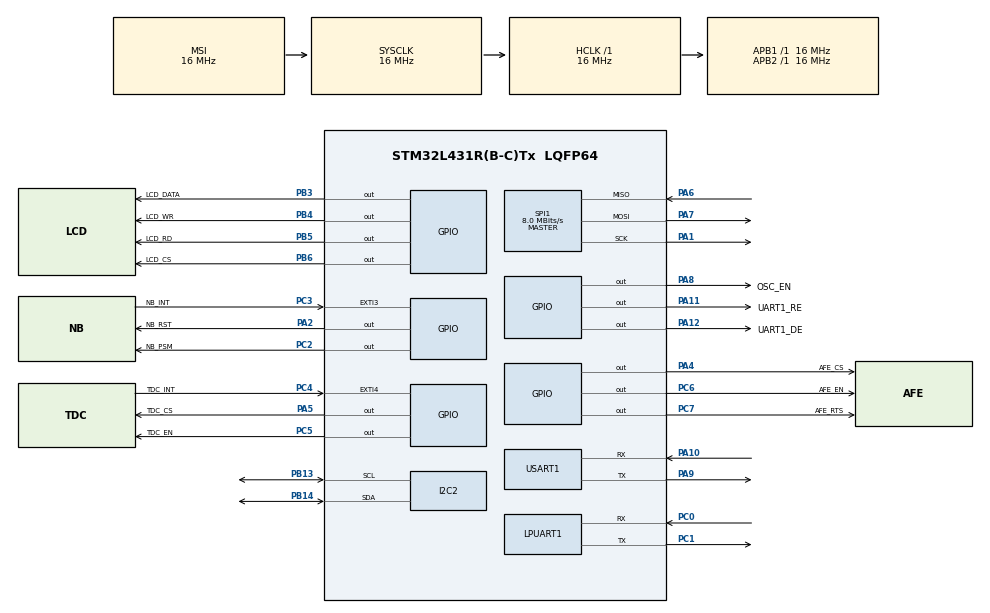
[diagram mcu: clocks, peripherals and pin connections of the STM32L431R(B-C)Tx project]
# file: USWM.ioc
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ADC1.Channel-0\#ChannelRegularConversion=ADC_CHANNEL_VREFINT
ADC1.NbrOfConversion=1
ADC1.NbrOfConversionFlag=1
ADC1.OffsetNumber-0\#ChannelRegularConversion=ADC_OFFSET_NONE
ADC1.Rank-0\#ChannelRegularConversion=1
ADC1.SamplingTime-0\#ChannelRegularConversion=ADC_SAMPLETIME_247CYCLES_5
ADC1.master=1
Dma.Request0=USART1_RX
Dma.USART1_RX.0.Direction=DMA_PERIPH_TO_MEMORY
Dma.USART1_RX.0.Instance=DMA1_Channel5
Dma.USART1_RX.0.MemDataAlignment=DMA_MDATAALIGN_BYTE
Dma.USART1_RX.0.MemInc=DMA_MINC_ENABLE
Dma.USART1_RX.0.Mode=DMA_NORMAL
Dma.USART1_RX.0.PeriphDataAlignment=DMA_PDATAALIGN_BYTE
Dma.USART1_RX.0.PeriphInc=DMA_PINC_DISABLE
Dma.USART1_RX.0.Priority=DMA_PRIORITY_HIGH
I2C2.Timing=0x00503D58
Mcu.Family=STM32L4
Mcu.Name=STM32L431R(B-C)Tx
Mcu.Package=LQFP64
NVIC.DMA1_Channel5_IRQn=true\:0\:0\:false\:false\:true\:false\:true\:true
NVIC.EXTI3_IRQn=true\:0\:0\:false\:false\:true\:true\:true\:true
NVIC.EXTI4_IRQn=true\:0\:0\:false\:false\:true\:true\:true\:true
NVIC.LPUART1_IRQn=true\:0\:0\:false\:false\:true\:true\:true\:true
NVIC.PriorityGroup=NVIC_PRIORITYGROUP_4
NVIC.RTC_WKUP_IRQn=true\:0\:0\:false\:false\:true\:true\:true\:true
NVIC.USART1_IRQn=true\:0\:0\:false\:false\:true\:true\:true\:true
PA1.Mode=Full_Duplex_Master
PA1.Signal=SPI1_SCK
PA10.Mode=Asynchronous
PA10.Signal=USART1_RX
PA11.GPIO_Label=UART1_RE
PA11.PinState=GPIO_PIN_SET
PA11.Signal=GPIO_Output
PA12.GPIO_Label=UART1_DE
PA12.Signal=GPIO_Output
PA13\ (JTMS-SWDIO).Mode=Serial_Wire
PA13\ (JTMS-SWDIO).Signal=SYS_JTMS-SWDIO
PA14\ (JTCK-SWCLK).Mode=Serial_Wire
PA14\ (JTCK-SWCLK).Signal=SYS_JTCK-SWCLK
PA2.GPIO_Label=NB_RST
PA2.Signal=GPIO_Output
PA4.GPIO_Label=AFE_CS
PA4.PinState=GPIO_PIN_SET
PA4.Signal=GPIO_Output
PA5.GPIO_Label=TDC_CS
PA5.PinState=GPIO_PIN_SET
PA5.Signal=GPIO_Output
PA6.Mode=Full_Duplex_Master
PA6.Signal=SPI1_MISO
PA7.Mode=Full_Duplex_Master
PA7.Signal=SPI1_MOSI
PA8.GPIO_Label=OSC_EN
PA8.Signal=GPIO_Output
PA9.Mode=Asynchronous
PA9.Signal=USART1_TX
PB13.Mode=I2C
PB13.Signal=I2C2_SCL
PB14.Mode=I2C
PB14.Signal=I2C2_SDA
PB3\ (JTDO-TRACESWO).GPIO_Label=LCD_DATA
PB3\ (JTDO-TRACESWO).Signal=GPIO_Output
PB4\ (NJTRST).GPIO_Label=LCD_WR
PB4\ (NJTRST).Signal=GPIO_Output
PB5.GPIO_Label=LCD_RD
PB5.Signal=GPIO_Output
PB6.GPIO_FM6=SYSCFG_FASTMODEPLUS_PB6
PB6.GPIO_Label=LCD_CS
PB6.GPIO_Speed=GPIO_SPEED_FREQ_LOW
PB6.PinState=GPIO_PIN_SET
PB6.Signal=GPIO_Output
PC0.Mode=Asynchronous
PC0.Signal=LPUART1_RX
PC1.Mode=Asynchronous
PC1.Signal=LPUART1_TX
PC14-OSC32_IN\ (PC14).Mode=LSE-External-Oscillator
PC14-OSC32_IN\ (PC14).Signal=RCC_OSC32_IN
PC15-OSC32_OUT\ (PC15).Mode=LSE-External-Oscillator
PC15-OSC32_OUT\ (PC15).Signal=RCC_OSC32_OUT
PC2.GPIO_Label=NB_PSM
PC2.Signal=GPIO_Output
PC3.GPIO_Label=NB_INT
PC3.Signal=GPXTI3
PC4.GPIO_Label=TDC_INT
PC4.GPIO_ModeDefaultEXTI=GPIO_MODE_IT_FALLING
PC4.GPIO_PuPd=GPIO_PULLUP
PC4.Signal=GPXTI4
PC5.GPIO_Label=TDC_EN
PC5.Signal=GPIO_Output
PC6.GPIO_Label=AFE_EN
PC6.Signal=GPIO_Output
PC7.GPIO_Label=AFE_RTS
PC7.Signal=GPIO_Output
ProjectManager.HeapSize=0x200
ProjectManager.StackSize=0x400
ProjectManager.TargetToolchain=STM32CubeIDE
RCC.ADCFreq_Value=64000000
RCC.AHBFreq_Value=16000000
RCC.APB1Freq_Value=16000000
RCC.APB1TimFreq_Value=16000000
RCC.APB2Freq_Value=16000000
RCC.APB2TimFreq_Value=16000000
RCC.CortexFreq_Value=16000000
RCC.HCLKFreq_Value=16000000
RCC.HSE_VALUE=8000000
RCC.HSI48_VALUE=48000000
RCC.HSI_VALUE=16000000
RCC.MSIClockRange=RCC_MSIRANGE_8
RCC.MSI_VALUE=16000000
RCC.SYSCLKFreq_VALUE=16000000
RCC.VCOOutputFreq_Value=128000000
SPI1.CalculateBaudRate=8.0 MBits/s
SPI1.DataSize=SPI_DATASIZE_8BIT
SPI1.Direction=SPI_DIRECTION_2LINES
SPI1.Mode=SPI_MODE_MASTER
SPI1.VirtualType=VM_MASTER
USART1.VirtualMode-Asynchronous=VM_ASYNC
VP_ADC1_Vref_Input.Mode=IN-Vrefint
VP_RTC_VS_RTC_Activate.Mode=RTC_Enabled
VP_RTC_VS_RTC_WakeUp_intern.Mode=WakeUp
board=custom

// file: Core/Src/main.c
/* USER CODE BEGIN Header */
/**
  ******************************************************************************
  * @file           : main.c
  * @brief          : Main program body
  ******************************************************************************
  * @attention
  *
  * Copyright (c) 2026 STMicroelectronics.
  * All rights reserved.
  *
  * This software is licensed under terms that can be found in the LICENSE file
  * in the root directory of this software component.
  * If no LICENSE file comes with this software, it is provided AS-IS.
  *
  ******************************************************************************
  */
/* USER CODE END Header */
#include "main.h"

/* USER CODE BEGIN Includes */
#include <math.h>
#include <stdlib.h>
#include <inttypes.h>

#include "BC660K-GL.h"
#include "HT1621B.h"
#include "TDC1000.h"
#include "TDC7200.h"
#include "AT24C64.h"
#include "RS485.h"
/* USER CODE END Includes */

/* USER CODE BEGIN PD */
#define ENABLE_LOG_HAL_STATUS	0

#if ENABLE_LOG_HAL_STATUS

#define print_hal_status(expr) do { \
    HAL_StatusTypeDef __status = (expr); \
    switch(__status){ \
    case HAL_OK: \
        printf("[INFO] %s:%d: HAL OK\r\n", __FILE__, __LINE__); \
        break; \
    case HAL_ERROR: \
        printf("[WARN] %s:%d: HAL ERROR\r\n", __FILE__, __LINE__); \
        break; \
    case HAL_BUSY: \
        printf("[WARN] %s:%d: HAL BUSY\r\n", __FILE__, __LINE__); \
        break; \
    case HAL_TIMEOUT: \
        printf("[WARN] %s:%d: HAL TIMEOUT\r\n", __FILE__, __LINE__); \
        break; \
    default: \
        printf("[WARN] %s:%d: UNKNOWN STATUS\r\n", __FILE__, __LINE__); \
        break; \
    } \
} while(0)

#else

#define print_hal_status(expr) (expr)

#endif

#define K_METER					0.754189f

#define ACK						0x06

#define LIFE_CYCLE				10 //year
#define NUM_RECORD				180
#define MIN_CYCLE_WRITE_EPPROM	((LIFE_CYCLE * 31536) / NUM_RECORD) //LIFE_CYCLE * 365 * 24 * 60 * 60 * 1000 / NUM_RECORD / 1000000 ms -> 1752 ms

#define L_AB					0.060f //m
#define PIPE_DIA				0.012f //m
#define PI						3.1415927f

#define CRYSTAL_CLOCK			8000000 //Hz

#define RX_BUFFER_SIZE			256

/* USER CODE END PD */

ADC_HandleTypeDef hadc1;

I2C_HandleTypeDef hi2c2;

UART_HandleTypeDef hlpuart1;
UART_HandleTypeDef huart1;
DMA_HandleTypeDef hdma_usart1_rx;

RTC_HandleTypeDef hrtc;

SPI_HandleTypeDef hspi1;

void SystemClock_Config(void);
static void MX_GPIO_Init(void);
static void MX_DMA_Init(void);
static void MX_ADC1_Init(void);
static void MX_SPI1_Init(void);
static void MX_USART1_UART_Init(void);
static void MX_RTC_Init(void);
static void MX_I2C2_Init(void);
static void MX_LPUART1_UART_Init(void);

/* USER CODE BEGIN 0 */
uint8_t isWakeUpFromStop = 0;

RTC_TimeTypeDef sTime;
RTC_DateTypeDef sDate;

HT1621B_Name LCD1;
TDC7200_Name TDC1;
TDC1000_Name AFE1;
BC660K_Name NB1;
AT24C64_Name EPPROM1;
RS485_HandleTypeDef RS485;

uint8_t send_data_realtime = 0;

uint16_t meas_cycle = 100;
uint16_t updatedata_counter = 0;
uint8_t writedata_cycle = 4; //h
uint8_t writedata_counter = 0;
uint8_t senddata_cycle = 1; //d

uint8_t write_position = 0;

uint8_t tdc_int_flag = 0;
uint8_t nb_int_flag = 0;

uint8_t rxBuffer[RX_BUFFER_SIZE];
uint16_t rxBufferSize;
uint8_t uart_int_flag = 0;
uint8_t command_receive = 0;
uint8_t data_receive[RX_BUFFER_SIZE];
uint8_t data_receive_lenght = 0;

uint8_t error_reg_value = 0;

float t_ab[6] = {0}; // ns
float t_ba[6] = {0}; // ns
float temperature = 0; // C
float velocity = 0; // m/s
float flow = 0; // l/s

uint16_t water_used_integer = 0; //l
float water_used_reality = 0; //l

uint32_t meter_reading_integer = 0; //l
float meter_reading_decimal = 0; //l

float vdd = 3.6f;

void HAL_GPIO_EXTI_Callback(uint16_t GPIO_Pin)
{
    if (GPIO_Pin == TDC_INT_Pin)
    {
    	tdc_int_flag = 1;
    }
    if (GPIO_Pin == NB_INT_Pin)
    {
    	nb_int_flag = 1;
    }
}

void HAL_UARTEx_RxEventCallback(UART_HandleTypeDef *huart, uint16_t Size)
{
    if (huart->Instance == USART1)
    {
    	if (1)
		{
			uart_int_flag = 1;
			RS485_TakeData(rxBuffer, Size, &command_receive, data_receive, &data_receive_lenght);
			memset(rxBuffer, 0, RX_BUFFER_SIZE);
		}

        HAL_UARTEx_ReceiveToIdle_DMA(huart, rxBuffer, RX_BUFFER_SIZE);
        __HAL_DMA_DISABLE_IT(huart->hdmarx, DMA_IT_HT);
    }
}

void Init()
{
	RS485_Init(&RS485, &huart1, rxBuffer, RX_BUFFER_SIZE,
			UART1_DE_GPIO_Port, UART1_DE_Pin,
			UART1_RE_GPIO_Port, UART1_RE_Pin);
	AT24C64_Init(&EPPROM1, &hi2c2, 0xA0);
	TDC7200_Init(&TDC1, &hspi1,
		  TDC_CS_GPIO_Port, TDC_CS_Pin,
		  TDC_EN_GPIO_Port, TDC_EN_Pin,
		  CRYSTAL_CLOCK);
	TDC1000_Init(&AFE1, &hspi1,
		  AFE_CS_GPIO_Port, AFE_CS_Pin,
		  AFE_EN_GPIO_Port, AFE_EN_Pin,
		  AFE_RTS_GPIO_Port, AFE_RTS_Pin,
		  CRYSTAL_CLOCK);
	HT1621B_Init(&LCD1,
		  LCD_CS_GPIO_Port, LCD_CS_Pin,
		  LCD_RD_GPIO_Port, LCD_RD_Pin,
		  LCD_WR_GPIO_Port, LCD_WR_Pin,
		  LCD_DATA_GPIO_Port, LCD_DATA_Pin);
	BC660K_Init(&NB1, &hlpuart1,
		  NB_PSM_GPIO_Port, NB_PSM_Pin,
		  NB_RST_GPIO_Port, NB_RST_Pin);

	HAL_ADC_Stop(&hadc1);
	if (HAL_ADCEx_Calibration_Start(&hadc1, ADC_SINGLE_ENDED) != HAL_OK)
	{
	    printf("[ERROR] ADC Calibration failed!\r\n");
	}
}

void Active()
{
	RS485_ReceiveMode(&RS485);
	HAL_GPIO_WritePin(OSC_EN_GPIO_Port, OSC_EN_Pin, GPIO_PIN_SET);
	TDC7200_Active(&TDC1);
	TDC1000_Active(&AFE1);
	HT1621B_Active(&LCD1);
	HT1621B_TurnOnDisplay(&LCD1);
}

void Sleep()
{
	RS485_Disable(&RS485);
	TDC7200_Sleep(&TDC1);
	TDC1000_Sleep(&AFE1);
	HAL_GPIO_WritePin(OSC_EN_GPIO_Port, OSC_EN_Pin, GPIO_PIN_RESET);
	//HT1621B_Sleep(&LCD1);
	//HT1621B_TurnOffDisplay(&LCD1);
}

void CheckConfig()
{
	uint8_t cmd_temp[20] = {0};
	for (uint8_t i = 0; i < 10; i++)
	{
		TDC7200_ReadRegister8bit(&TDC1, i, &cmd_temp[i]);
	}
	for (uint8_t i = 0; i < 10; i++)
	{
		TDC1000_ReadRegister(&AFE1, i, &cmd_temp[i]);
	}
	printf("[INFO] TDC7200: %02X %02X %02X %02X %02X %02X %02X %02X %02X %02X\r\n",
			  cmd_temp[0], cmd_temp[1], cmd_temp[2], cmd_temp[3], cmd_temp[4], cmd_temp[5], cmd_temp[6], cmd_temp[7], cmd_temp[8], cmd_temp[9]);
	printf("[INFO] TDC1000: %02X %02X %02X %02X %02X %02X %02X %02X %02X %02X\r\n",
			  cmd_temp[10], cmd_temp[11], cmd_temp[12], cmd_temp[13], cmd_temp[14], cmd_temp[15], cmd_temp[16], cmd_temp[17], cmd_temp[18], cmd_temp[19]);
	printf("[INFO] Measure Cycle: %d ms\r\n", meas_cycle);
	printf("[INFO] Write data Cycle: %d h\r\n", writedata_cycle);
	printf("[INFO] Send data Cycle: %d d\r\n", senddata_cycle);
}

void Config()
{
	TDC1000_Reset(&AFE1);

	if (isWakeUpFromStop == 0)
	{
		/*
		print_hal_status(TDC7200_Config(&TDC1,
				FORECE_CALIBRATION_OFF, PARITY_DIS,
				TRIG_EDGE_RISING, STOP_EDGE_RISING, START_EDGE_RISING,
				MEAS_LONG_ToF,
				CALIBRATION_10_CLOCK_PERIODS, AVERAGING_1_CYCLES, RECEIVE_FIVE_STOPS,
				CLOCK_CNTR_OVF_MASK_EN, COARSE_CNTR_OVF_MASK_EN, NEW_MEAS_MASK_EN,
				0xFFFF, 0x028C, 0x018C));
		print_hal_status(TDC1000_Config(&AFE1,
				TX_FREQ_DIV_BY_8, 32,
				MEASUREMENT_1_CYCLES, RECEIVE_5_PULSE,
				DAMPING_DIS, TOF_MEAS_MODE1,
				TEMP_MODE_2_CHANNEL, TEMP_RTD_SEL_PT1000, TEMP_CLK_DIV_BY_8,
				BLANKING_DIS, ECHO_QUAL_THLD_125mV,
				RECEIVE_MODE_SINGLE_ECHO, TRIG_EDGE_POLARITY_RISING, 31,
				PGA_GAIN_21dB, PGA_CTRL_ACTIVE, LNA_CTRL_ACTIVE, LNA_FEEDBACK_CAP,
				0x003E,
				FORCE_SHORT_TOF_DIS, SHORT_TOF_BLANK_PERIOD_64xT0,
				ECHO_TIMEOUT_EN, TOF_TIMEOUT_CTRL_128xT0,
				CLOCKIN_DIV_BY_1, AUTOZERO_PERIOD_64xT0));

		 */
		print_hal_status(AT24C64_Read(&EPPROM1, 0, TDC1.regs, 10));
		print_hal_status(AT24C64_Read(&EPPROM1, 10, AFE1.regs, 10));

		print_hal_status(TDC7200_ByteConfig(&TDC1, TDC1.regs));
		print_hal_status(TDC1000_ByteConfig(&AFE1, AFE1.regs));

		uint8_t cycle[3];

		print_hal_status(AT24C64_Read(&EPPROM1, 20, cycle, 3));

		meas_cycle = cycle[0] * 100;
		writedata_cycle = cycle[1];
		senddata_cycle = cycle[2];

		HT1621B_Config(&LCD1);
	}
	else
	{
		print_hal_status(TDC7200_ByteConfig(&TDC1, TDC1.regs));
		print_hal_status(TDC1000_ByteConfig(&AFE1, AFE1.regs));
	}
	//CheckConfig();
}

void Meas_TOF()
{
	print_hal_status(TDC1000_ToF_Select(&AFE1, SELECT_CHANNEL2));
	tdc_int_flag = 0;
	print_hal_status(TDC7200_Startmeasing(&TDC1));
	uint32_t start1 = HAL_GetTick();
	while (tdc_int_flag == 0)
	{
		if (HAL_GetTick() - start1 >= 100)
		{
			printf("[WARN] Measuring time up timeout\r\n");
			return;
		}
	}
	if (tdc_int_flag == 1)
	{
		print_hal_status(TDC1000_Get_Error(&AFE1, &error_reg_value));
		if (error_reg_value != 0)
		{
			printf("[WARN] Measuring time up fail. \r\n");
			return;
		}
		print_hal_status(TDC7200_GetStatus(&TDC1));
		print_hal_status(TDC7200_GetTOF(&TDC1));
		t_ab[0] = TDC1.ToF[0];
		tdc_int_flag = 0;
		printf("[INFO] Measuring time up success. Time up: %f ns\r\n", t_ab[0]);
	}

	TDC1000_Sleep(&AFE1);
	HAL_Delay(1);
	TDC1000_Active(&AFE1);
	HAL_Delay(1);

	print_hal_status(TDC1000_ToF_Select(&AFE1, SELECT_CHANNEL1));
	tdc_int_flag = 0;
	print_hal_status(TDC7200_Startmeasing(&TDC1));
	uint32_t start2 = HAL_GetTick();
	while (tdc_int_flag == 0)
	{
		if (HAL_GetTick() - start2 >= 100)
		{
			printf("[WARN] Measuring time down timeout. \r\n");
			return;
		}
	}
	if (tdc_int_flag == 1)
	{
		print_hal_status(TDC1000_Get_Error(&AFE1, &error_reg_value));
		if (error_reg_value != 0)
		{
			printf("[WARN] Measuring time down fail. \r\n");
			return;
		}
		print_hal_status(TDC7200_GetStatus(&TDC1));
		print_hal_status(TDC7200_GetTOF(&TDC1));
		t_ba[0] = TDC1.ToF[0];
		tdc_int_flag = 0;
		printf("[INFO] Measuring time down success. Time down: %f ns\r\n", t_ba[0]);
	}
}

void Meas_Temp()
{
	TDC1000_Sleep(&AFE1);
	HAL_Delay(1);
	TDC1000_Active(&AFE1);
	HAL_Delay(1);
	TDC7200_Config_CounterOverflow(&TDC1, 0xFFFF, 0x1CD0, 0x04B0);
	//CheckConfig();

	print_hal_status(TDC1000_Temp_Select(&AFE1));
	tdc_int_flag = 0;
	print_hal_status(TDC7200_Startmeasing(&TDC1));
	uint32_t start = HAL_GetTick();
	while (tdc_int_flag == 0)
	{
		if (HAL_GetTick() - start >= 100)
		{
			printf("[WARN] Measuring temperature timeout\r\n");
			break;
		}
	}
	if (tdc_int_flag == 1)
	{
		print_hal_status(TDC7200_GetStatus(&TDC1));
		print_hal_status(TDC7200_GetTOF(&TDC1));
		float t_REF = TDC1.ToF[0];
		float t_RTD1 = (TDC1.ToF[1] - TDC1.ToF[0] - 51000) / 0.55f;
		tdc_int_flag = 0;
		float RTD1 = 1000.0f * t_REF / t_RTD1;
		temperature = (RTD1/1000 - 1) / 0.00385f;
		printf("[INFO] Measuring temperature success. Temperature: %.3f\r\n", temperature);
	}
}

void MeasBattery()
{
	uint16_t adc_vref = 0;
	uint16_t vref_cal;

	ADC_ChannelConfTypeDef sConfig = {0};
	sConfig.Channel      = ADC_CHANNEL_VREFINT;
	sConfig.Rank         = ADC_REGULAR_RANK_1;
	sConfig.SamplingTime = ADC_SAMPLETIME_247CYCLES_5;
	sConfig.SingleDiff   = ADC_SINGLE_ENDED;
	sConfig.OffsetNumber = ADC_OFFSET_NONE;
	sConfig.Offset       = 0;
	HAL_ADC_ConfigChannel(&hadc1, &sConfig);

	HAL_ADC_Start(&hadc1);
	if (HAL_ADC_PollForConversion(&hadc1, 500) == HAL_OK)
	{
	    adc_vref = HAL_ADC_GetValue(&hadc1);
	}
	else
	{
	    printf("[ERROR] ADC VREF timeout\r\n");
	}
	HAL_ADC_Stop(&hadc1);

	#if defined(VREFINT_CAL_ADDR)
	  vref_cal = *VREFINT_CAL_ADDR;
	#else
	  printf("[WARN] VREFINT_CAL_ADDR not defined!\r\n");
	#endif

	vdd = 3.0f * ((float)vref_cal / (float)adc_vref);

	printf("[INFO] VDD = %.3f V\r\n", vdd);
}

void Calculator_WaterUsed()
{
	if (error_reg_value != 0) return;
	float c = 1402.388f + 5.03830f * temperature; //m/s
	float delta_tof =t_ba[0] - t_ab[0]; //ns
	velocity = delta_tof * c * c / (2 * L_AB) / TIMESCALE; //m/s
	flow = K_METER * 10 * velocity * PI * (10*PIPE_DIA) * (10*PIPE_DIA) / 4; //l/s
	meter_reading_decimal += flow * (meas_cycle / 1000.0f);
	meter_reading_integer += (uint32_t)meter_reading_decimal;
	meter_reading_decimal -= (uint32_t)meter_reading_decimal;

	water_used_integer = meter_reading_integer;
	water_used_reality = meter_reading_integer;

	printf("[INFO] Difference time = %f ns, Ultrasonic velocity = %f m/s, Velocity = %f m/s, Flow %f l/s, Water used = %f l\r\n",
			delta_tof, c, velocity, flow, (float)meter_reading_integer + meter_reading_decimal);
}

void Update_LCD()
{
	if (vdd > 3.3f)
		HT1621B_BDTM1174_LowBattery(&LCD1, STATUS_DIS);
	else
		HT1621B_BDTM1174_LowBattery(&LCD1, STATUS_EN);

	if(ENABLE_LOG)
		HT1621B_BDTM1174_Test(&LCD1, STATUS_EN);
	else
		HT1621B_BDTM1174_Test(&LCD1, STATUS_DIS);

	if (error_reg_value == 0)
	{
		HT1621B_BDTM1174_WirteData(&LCD1, (float)meter_reading_integer + meter_reading_decimal, UNIT_l);
		//HT1621B_BDTM1174_WirteData(&LCD1, flow * 3.6f, UNIT_m3ph);
	}
	else
	{
		HT1621B_BDTM1174_WirteError(&LCD1, error_reg_value);
	}
}

void Save_Data()
{
	HAL_RTC_GetTime(&hrtc, &sTime, RTC_FORMAT_BIN);
	HAL_RTC_GetDate(&hrtc, &sDate, RTC_FORMAT_BIN);

	if (updatedata_counter > MIN_CYCLE_WRITE_EPPROM)
	{
		updatedata_counter = 0;
		write_position = AT24C64_Read(&EPPROM1, 23, &write_position, 1);
		write_position %= 180;
		uint8_t data_write[13];
		data_write[0] = sTime.Hours;		//hour
		data_write[1] = sTime.Minutes;		//min
		data_write[2] = sDate.Date;			//date
		data_write[3] = sDate.Month;		//mon
		data_write[4] = sDate.Year;			//year
		memcpy(&data_write[5], &water_used_integer, 2);
		memcpy(&data_write[7], &meter_reading_integer, 4);
		uint16_t crc = CRC16((uint8_t*)data_write, 11);
		memcpy(&data_write[11], &crc, 2);

		AT24C64_Write(&EPPROM1, 13 * write_position + 25, data_write, 13);
		write_position++;
	}
	else
		updatedata_counter += meas_cycle;

	static uint8_t prev_hour = 255;

	if (sTime.Hours != prev_hour)
	{
	    prev_hour = sTime.Hours;

	    if (sTime.Hours % 4 == 0)
	    {
	        write_position++;
	        water_used_integer = 0;
	    }
	}
}

void Send_DataEpprom()
{
	uint8_t temp[13] = {0};
	for (uint16_t i = 0; i < 2340; i += 13)
	{
		AT24C64_Read(&EPPROM1, 24 + i, temp, 13);
		RS485_Transmit(temp, 13);
		HAL_Delay(10);
	}
}

void Send_DataToF()
{
	uint8_t data_temp[sizeof(t_ab) + sizeof(t_ba)];
	memcpy(data_temp, t_ab, sizeof(t_ab));
	memcpy(data_temp + sizeof(t_ab), t_ba, sizeof(t_ba));
	RS485_Transmit(data_temp, sizeof(t_ab) + sizeof(t_ba));
}

void Use_Config()
{
	meas_cycle = data_receive[20];
	writedata_cycle = data_receive[21];
	senddata_cycle = data_receive[22];

	sDate.Date = data_receive[23];
	sDate.Month = data_receive[24];
	sDate.Year = data_receive[25];
	sTime.Hours = data_receive[26];
	sTime.Minutes = data_receive[27];
	sTime.Seconds = data_receive[28];
	HAL_RTC_SetDate(&hrtc, &sDate, RTC_FORMAT_BIN);
	HAL_RTC_SetTime(&hrtc, &sTime, RTC_FORMAT_BIN);

	print_hal_status(TDC7200_ByteConfig(&TDC1, &data_receive[0])); //10yte
	print_hal_status(TDC1000_ByteConfig(&AFE1, &data_receive[10])); //10byte
	CheckConfig();
}

void Save_Config()
{
	sDate.Date = data_receive[23];
	sDate.Month = data_receive[24];
	sDate.Year = data_receive[25];
	sTime.Hours = data_receive[26];
	sTime.Minutes = data_receive[27];
	sTime.Seconds = data_receive[28];
	HAL_RTC_SetDate(&hrtc, &sDate, RTC_FORMAT_BIN);
	HAL_RTC_SetTime(&hrtc, &sTime, RTC_FORMAT_BIN);

	AT24C64_Write(&EPPROM1, 0, data_receive, 23);
	uint8_t cmd_temp[23];
	AT24C64_Read(&EPPROM1, 0, cmd_temp, 23);
	RS485_Transmit((uint8_t*)cmd_temp, 23);
}

void Read_saved_value()
{
	uint8_t write_position_epprom = 0;
	AT24C64_Read(&EPPROM1, 24, &write_position_epprom, 1);
	uint8_t packet_temp[13] = {0};
	AT24C64_Read(&EPPROM1, 13 * write_position_epprom + 25, packet_temp, 13);

	HAL_RTC_GetTime(&hrtc, &sTime, RTC_FORMAT_BIN);
	HAL_RTC_GetDate(&hrtc, &sDate, RTC_FORMAT_BIN);

	if (sDate.Date == packet_temp[2] && sDate.Month == packet_temp[3] && sDate.Year == packet_temp[4] && sTime.Hours / 4 == packet_temp[0] / 4 )
	{
		write_position = write_position_epprom;
		memcpy(&packet_temp[5], &water_used_integer, 2);
		memcpy(&packet_temp[7], &meter_reading_integer, 4);
	}
	else
	{
		write_position = write_position_epprom++;
		memcpy(&packet_temp[7], &meter_reading_integer, 4);
		Save_Data();
	}
}

/* USER CODE END 0 */

int main(void)
{

  /* MCU Configuration--------------------------------------------------------*/

  /* Reset of all peripherals, Initializes the Flash interface and the Systick. */
  HAL_Init();

  /* Configure the system clock */
  SystemClock_Config();

  /* Initialize all configured peripherals */
  MX_GPIO_Init();
  MX_DMA_Init();
  MX_ADC1_Init();
  MX_SPI1_Init();
  MX_USART1_UART_Init();
  MX_RTC_Init();
  MX_I2C2_Init();
  MX_LPUART1_UART_Init();
  /* USER CODE BEGIN 2 */
  Init();
  /* USER CODE END 2 */

  /* Infinite loop */
  /* USER CODE BEGIN WHILE */
  HAL_UARTEx_ReceiveToIdle_DMA(&huart1, rxBuffer, RX_BUFFER_SIZE);
  __HAL_DMA_DISABLE_IT(huart1.hdmarx, DMA_IT_HT);

  HAL_GPIO_WritePin(NB_RST_GPIO_Port, NB_RST_Pin, GPIO_PIN_SET);
  char cmd1[] = "AT+QSCLK=1\r\n";
  HAL_UART_Transmit(&hlpuart1, (uint8_t*)cmd1, strlen(cmd1), 100);
  char cmd2[] = "AT+CFUN=0\r\n";
  HAL_UART_Transmit(&hlpuart1, (uint8_t*)cmd2, strlen(cmd2), 100);

  isWakeUpFromStop = 0;
  Read_saved_value();
  uint32_t start = 0, end = 0, stop = 0, timeMeasure = 0, timeUse = 0, timeSleep = 0;
  while (1)
  {
	  HAL_RTC_GetTime(&hrtc, &sTime, RTC_FORMAT_BIN);
	  HAL_RTC_GetDate(&hrtc, &sDate, RTC_FORMAT_BIN);
	  printf("\r\n[INFO] [%02d:%02d:%02d %02d/%02d/20%02d]\r\n", sTime.Hours, sTime.Minutes, sTime.Seconds, sDate.Date, sDate.Month, sDate.Year);
	  Active();
	  Config();
	  Meas_TOF();
	  Meas_Temp();
	  Calculator_WaterUsed();
	  MeasBattery();
	  Update_LCD();
	  Save_Data();
	  end = HAL_GetTick();
	  timeMeasure = end - start;
	  if (uart_int_flag)
	  {
		  uart_int_flag = 0;
		  switch (command_receive)
		  {
			  case READ_DATA_EPPROM:
				  RS485_Transmit((uint8_t[]){ACK}, 1);
				  Send_DataEpprom();
				  break;
			  case ENABLE_DATA_REALTIME:
				  RS485_Transmit((uint8_t[]){ACK}, 1);
				  send_data_realtime = 1;
				  break;
			  case DISABLE_DATA_REALTIME:
				  RS485_Transmit((uint8_t[]){ACK}, 1);
				  send_data_realtime = 0;
				  break;
			  case USE_CONFIG:
				  Use_Config();
				  RS485_Transmit((uint8_t[]){ACK}, 1);
				  break;
			  case SAVE_CONFIG:
				  Save_Config();
				  RS485_Transmit((uint8_t[]){ACK}, 1);
				  break;
			  default:
				  HAL_Delay(10);
				  char str[50];
				  sprintf(str, "Command: %02x", command_receive);
				  RS485_Transmit((uint8_t*)str, 11);
		  }

	  }
	  if (send_data_realtime)
	  {
			uint8_t temp[20] = {0};
			memcpy(temp, &flow, 4);

			memcpy(&temp[4], &temperature, 4);
			memcpy(&temp[8], &t_ab[0], 4);
			memcpy(&temp[12], &t_ba[0], 4);
			memcpy(&temp[16], &timeMeasure, 4);

			RS485_Transmit(temp, 20);
	  }
	  Sleep();
	  stop = HAL_GetTick();
	  timeUse = stop - start;
	  printf("[INFO] Time used: %lu\r\n", timeUse);
	  printf("[INFO] Measure cycle: %d ms\r\n", meas_cycle);
    /* USER CODE END WHILE */

    /* USER CODE BEGIN 3 */
	  if (meas_cycle > timeUse)
	  {
		  HAL_RTCEx_DeactivateWakeUpTimer(&hrtc);

		  __HAL_PWR_CLEAR_FLAG(PWR_FLAG_WU);
		  __HAL_RTC_WAKEUPTIMER_CLEAR_FLAG(&hrtc, RTC_FLAG_WUTF);
		  timeUse = HAL_GetTick() - start;
		  timeSleep = (uint32_t)((meas_cycle - timeUse) / 0.488f);
		  HAL_RTCEx_SetWakeUpTimer_IT(&hrtc, timeSleep, RTC_WAKEUPCLOCK_RTCCLK_DIV16);

		  __HAL_PWR_CLEAR_FLAG(PWR_FLAG_WU);

		  HAL_SuspendTick();
		  HAL_PWR_EnterSTOPMode(PWR_LOWPOWERREGULATOR_ON, PWR_STOPENTRY_WFI);

		  SystemClock_Config();
		  HAL_ResumeTick();

		  HAL_ADC_DeInit(&hadc1);
		  HAL_ADC_Init(&hadc1);
		  HAL_ADCEx_Calibration_Start(&hadc1, ADC_SINGLE_ENDED);

		  HAL_UART_DeInit(&huart1);
		  HAL_UART_Init(&huart1);
		  HAL_UARTEx_ReceiveToIdle_DMA(&huart1, rxBuffer, RX_BUFFER_SIZE);
		  __HAL_DMA_DISABLE_IT(huart1.hdmarx, DMA_IT_HT);

		  __HAL_PWR_CLEAR_FLAG(PWR_FLAG_WU);
		  __HAL_RTC_WAKEUPTIMER_CLEAR_FLAG(&hrtc, RTC_FLAG_WUTF);
	  }
	  start = HAL_GetTick();
	  isWakeUpFromStop = 1;

  }
  /* USER CODE END 3 */
}

void SystemClock_Config(void)
{
  RCC_OscInitTypeDef RCC_OscInitStruct = {0};
  RCC_ClkInitTypeDef RCC_ClkInitStruct = {0};

  /** Configure the main internal regulator output voltage
  */
  if (HAL_PWREx_ControlVoltageScaling(PWR_REGULATOR_VOLTAGE_SCALE1) != HAL_OK)
  {
    Error_Handler();
  }

  /** Configure LSE Drive Capability
  */
  HAL_PWR_EnableBkUpAccess();
  __HAL_RCC_LSEDRIVE_CONFIG(RCC_LSEDRIVE_LOW);

  /** Initializes the RCC Oscillators according to the specified parameters
  * in the RCC_OscInitTypeDef structure.
  */
  RCC_OscInitStruct.OscillatorType = RCC_OSCILLATORTYPE_LSI|RCC_OSCILLATORTYPE_LSE
                              |RCC_OSCILLATORTYPE_MSI;
  RCC_OscInitStruct.LSEState = RCC_LSE_ON;
  RCC_OscInitStruct.LSIState = RCC_LSI_ON;
  RCC_OscInitStruct.MSIState = RCC_MSI_ON;
  RCC_OscInitStruct.MSICalibrationValue = 0;
  RCC_OscInitStruct.MSIClockRange = RCC_MSIRANGE_8;
  RCC_OscInitStruct.PLL.PLLState = RCC_PLL_NONE;
  if (HAL_RCC_OscConfig(&RCC_OscInitStruct) != HAL_OK)
  {
    Error_Handler();
  }

  /** Initializes the CPU, AHB and APB buses clocks
  */
  RCC_ClkInitStruct.ClockType = RCC_CLOCKTYPE_HCLK|RCC_CLOCKTYPE_SYSCLK
                              |RCC_CLOCKTYPE_PCLK1|RCC_CLOCKTYPE_PCLK2;
  RCC_ClkInitStruct.SYSCLKSource = RCC_SYSCLKSOURCE_MSI;
  RCC_ClkInitStruct.AHBCLKDivider = RCC_SYSCLK_DIV1;
  RCC_ClkInitStruct.APB1CLKDivider = RCC_HCLK_DIV1;
  RCC_ClkInitStruct.APB2CLKDivider = RCC_HCLK_DIV1;

  if (HAL_RCC_ClockConfig(&RCC_ClkInitStruct, FLASH_LATENCY_0) != HAL_OK)
  {
    Error_Handler();
  }

  /** Enable MSI Auto calibration
  */
  HAL_RCCEx_EnableMSIPLLMode();
}

static void MX_ADC1_Init(void)
{

  ADC_ChannelConfTypeDef sConfig = {0};

  /** Common config
  */
  hadc1.Instance = ADC1;
  hadc1.Init.ClockPrescaler = ADC_CLOCK_ASYNC_DIV1;
  hadc1.Init.Resolution = ADC_RESOLUTION_12B;
  hadc1.Init.DataAlign = ADC_DATAALIGN_RIGHT;
  hadc1.Init.ScanConvMode = ADC_SCAN_DISABLE;
  hadc1.Init.EOCSelection = ADC_EOC_SINGLE_CONV;
  hadc1.Init.LowPowerAutoWait = DISABLE;
  hadc1.Init.ContinuousConvMode = DISABLE;
  hadc1.Init.NbrOfConversion = 1;
  hadc1.Init.DiscontinuousConvMode = DISABLE;
  hadc1.Init.ExternalTrigConv = ADC_SOFTWARE_START;
  hadc1.Init.ExternalTrigConvEdge = ADC_EXTERNALTRIGCONVEDGE_NONE;
  hadc1.Init.DMAContinuousRequests = DISABLE;
  hadc1.Init.Overrun = ADC_OVR_DATA_PRESERVED;
  hadc1.Init.OversamplingMode = DISABLE;
  if (HAL_ADC_Init(&hadc1) != HAL_OK)
  {
    Error_Handler();
  }

  /** Configure Regular Channel
  */
  sConfig.Channel = ADC_CHANNEL_VREFINT;
  sConfig.Rank = ADC_REGULAR_RANK_1;
  sConfig.SamplingTime = ADC_SAMPLETIME_247CYCLES_5;
  sConfig.SingleDiff = ADC_SINGLE_ENDED;
  sConfig.OffsetNumber = ADC_OFFSET_NONE;
  sConfig.Offset = 0;
  if (HAL_ADC_ConfigChannel(&hadc1, &sConfig) != HAL_OK)
  {
    Error_Handler();
  }

}

static void MX_I2C2_Init(void)
{

  hi2c2.Instance = I2C2;
  hi2c2.Init.Timing = 0x00503D58;
  hi2c2.Init.OwnAddress1 = 0;
  hi2c2.Init.AddressingMode = I2C_ADDRESSINGMODE_7BIT;
  hi2c2.Init.DualAddressMode = I2C_DUALADDRESS_DISABLE;
  hi2c2.Init.OwnAddress2 = 0;
  hi2c2.Init.OwnAddress2Masks = I2C_OA2_NOMASK;
  hi2c2.Init.GeneralCallMode = I2C_GENERALCALL_DISABLE;
  hi2c2.Init.NoStretchMode = I2C_NOSTRETCH_DISABLE;
  if (HAL_I2C_Init(&hi2c2) != HAL_OK)
  {
    Error_Handler();
  }

  /** Configure Analogue filter
  */
  if (HAL_I2CEx_ConfigAnalogFilter(&hi2c2, I2C_ANALOGFILTER_ENABLE) != HAL_OK)
  {
    Error_Handler();
  }

  /** Configure Digital filter
  */
  if (HAL_I2CEx_ConfigDigitalFilter(&hi2c2, 0) != HAL_OK)
  {
    Error_Handler();
  }

}

static void MX_LPUART1_UART_Init(void)
{

  hlpuart1.Instance = LPUART1;
  hlpuart1.Init.BaudRate = 209700;
  hlpuart1.Init.WordLength = UART_WORDLENGTH_7B;
  hlpuart1.Init.StopBits = UART_STOPBITS_1;
  hlpuart1.Init.Parity = UART_PARITY_NONE;
  hlpuart1.Init.Mode = UART_MODE_TX_RX;
  hlpuart1.Init.HwFlowCtl = UART_HWCONTROL_NONE;
  hlpuart1.Init.OneBitSampling = UART_ONE_BIT_SAMPLE_DISABLE;
  hlpuart1.AdvancedInit.AdvFeatureInit = UART_ADVFEATURE_NO_INIT;
  if (HAL_UART_Init(&hlpuart1) != HAL_OK)
  {
    Error_Handler();
  }

}

static void MX_USART1_UART_Init(void)
{

  huart1.Instance = USART1;
  huart1.Init.BaudRate = 115200;
  huart1.Init.WordLength = UART_WORDLENGTH_8B;
  huart1.Init.StopBits = UART_STOPBITS_1;
  huart1.Init.Parity = UART_PARITY_NONE;
  huart1.Init.Mode = UART_MODE_TX_RX;
  huart1.Init.HwFlowCtl = UART_HWCONTROL_NONE;
  huart1.Init.OverSampling = UART_OVERSAMPLING_16;
  huart1.Init.OneBitSampling = UART_ONE_BIT_SAMPLE_DISABLE;
  huart1.AdvancedInit.AdvFeatureInit = UART_ADVFEATURE_NO_INIT;
  if (HAL_UART_Init(&huart1) != HAL_OK)
  {
    Error_Handler();
  }

}

static void MX_RTC_Init(void)
{

  /** Initialize RTC Only
  */
  hrtc.Instance = RTC;
  hrtc.Init.HourFormat = RTC_HOURFORMAT_24;
  hrtc.Init.AsynchPrediv = 127;
  hrtc.Init.SynchPrediv = 255;
  hrtc.Init.OutPut = RTC_OUTPUT_DISABLE;
  hrtc.Init.OutPutRemap = RTC_OUTPUT_REMAP_NONE;
  hrtc.Init.OutPutPolarity = RTC_OUTPUT_POLARITY_HIGH;
  hrtc.Init.OutPutType = RTC_OUTPUT_TYPE_OPENDRAIN;
  if (HAL_RTC_Init(&hrtc) != HAL_OK)
  {
    Error_Handler();
  }

}

static void MX_SPI1_Init(void)
{

  /* SPI1 parameter configuration*/
  hspi1.Instance = SPI1;
  hspi1.Init.Mode = SPI_MODE_MASTER;
  hspi1.Init.Direction = SPI_DIRECTION_2LINES;
  hspi1.Init.DataSize = SPI_DATASIZE_8BIT;
  hspi1.Init.CLKPolarity = SPI_POLARITY_LOW;
  hspi1.Init.CLKPhase = SPI_PHASE_1EDGE;
  hspi1.Init.NSS = SPI_NSS_SOFT;
  hspi1.Init.BaudRatePrescaler = SPI_BAUDRATEPRESCALER_2;
  hspi1.Init.FirstBit = SPI_FIRSTBIT_MSB;
  hspi1.Init.TIMode = SPI_TIMODE_DISABLE;
  hspi1.Init.CRCCalculation = SPI_CRCCALCULATION_DISABLE;
  hspi1.Init.CRCPolynomial = 7;
  hspi1.Init.CRCLength = SPI_CRC_LENGTH_DATASIZE;
  hspi1.Init.NSSPMode = SPI_NSS_PULSE_ENABLE;
  if (HAL_SPI_Init(&hspi1) != HAL_OK)
  {
    Error_Handler();
  }

}

static void MX_DMA_Init(void)
{

  /* DMA controller clock enable */
  __HAL_RCC_DMA1_CLK_ENABLE();

  /* DMA interrupt init */
  /* DMA1_Channel5_IRQn interrupt configuration */
  HAL_NVIC_SetPriority(DMA1_Channel5_IRQn, 0, 0);
  HAL_NVIC_EnableIRQ(DMA1_Channel5_IRQn);

}

static void MX_GPIO_Init(void)
{
  GPIO_InitTypeDef GPIO_InitStruct = {0};

  /* GPIO Ports Clock Enable */
  __HAL_RCC_GPIOC_CLK_ENABLE();
  __HAL_RCC_GPIOA_CLK_ENABLE();
  __HAL_RCC_GPIOB_CLK_ENABLE();

  /*Configure GPIO pin Output Level */
  HAL_GPIO_WritePin(GPIOC, NB_PSM_Pin|TDC_EN_Pin|AFE_EN_Pin|AFE_RTS_Pin, GPIO_PIN_RESET);

  /*Configure GPIO pin Output Level */
  HAL_GPIO_WritePin(GPIOA, NB_RST_Pin|OSC_EN_Pin|UART1_DE_Pin, GPIO_PIN_RESET);

  /*Configure GPIO pin Output Level */
  HAL_GPIO_WritePin(GPIOA, AFE_CS_Pin|TDC_CS_Pin|UART1_RE_Pin, GPIO_PIN_SET);

  /*Configure GPIO pin Output Level */
  HAL_GPIO_WritePin(GPIOB, LCD_DATA_Pin|LCD_WR_Pin|LCD_RD_Pin, GPIO_PIN_RESET);

  /*Configure GPIO pin Output Level */
  HAL_GPIO_WritePin(LCD_CS_GPIO_Port, LCD_CS_Pin, GPIO_PIN_SET);

  /*Configure GPIO pins : NB_PSM_Pin TDC_EN_Pin AFE_EN_Pin AFE_RTS_Pin */
  GPIO_InitStruct.Pin = NB_PSM_Pin|TDC_EN_Pin|AFE_EN_Pin|AFE_RTS_Pin;
  GPIO_InitStruct.Mode = GPIO_MODE_OUTPUT_PP;
  GPIO_InitStruct.Pull = GPIO_NOPULL;
  GPIO_InitStruct.Speed = GPIO_SPEED_FREQ_LOW;
  HAL_GPIO_Init(GPIOC, &GPIO_InitStruct);

  /*Configure GPIO pin : NB_INT_Pin */
  GPIO_InitStruct.Pin = NB_INT_Pin;
  GPIO_InitStruct.Mode = GPIO_MODE_IT_RISING;
  GPIO_InitStruct.Pull = GPIO_NOPULL;
  HAL_GPIO_Init(NB_INT_GPIO_Port, &GPIO_InitStruct);

  /*Configure GPIO pins : NB_RST_Pin AFE_CS_Pin TDC_CS_Pin OSC_EN_Pin
                           UART1_RE_Pin UART1_DE_Pin */
  GPIO_InitStruct.Pin = NB_RST_Pin|AFE_CS_Pin|TDC_CS_Pin|OSC_EN_Pin
                          |UART1_RE_Pin|UART1_DE_Pin;
  GPIO_InitStruct.Mode = GPIO_MODE_OUTPUT_PP;
  GPIO_InitStruct.Pull = GPIO_NOPULL;
  GPIO_InitStruct.Speed = GPIO_SPEED_FREQ_LOW;
  HAL_GPIO_Init(GPIOA, &GPIO_InitStruct);

  /*Configure GPIO pin : TDC_INT_Pin */
  GPIO_InitStruct.Pin = TDC_INT_Pin;
  GPIO_InitStruct.Mode = GPIO_MODE_IT_FALLING;
  GPIO_InitStruct.Pull = GPIO_PULLUP;
  HAL_GPIO_Init(TDC_INT_GPIO_Port, &GPIO_InitStruct);

  /*Configure GPIO pins : LCD_DATA_Pin LCD_WR_Pin LCD_RD_Pin LCD_CS_Pin */
  GPIO_InitStruct.Pin = LCD_DATA_Pin|LCD_WR_Pin|LCD_RD_Pin|LCD_CS_Pin;
  GPIO_InitStruct.Mode = GPIO_MODE_OUTPUT_PP;
  GPIO_InitStruct.Pull = GPIO_NOPULL;
  GPIO_InitStruct.Speed = GPIO_SPEED_FREQ_LOW;
  HAL_GPIO_Init(GPIOB, &GPIO_InitStruct);

  /**/
  __HAL_SYSCFG_FASTMODEPLUS_ENABLE(SYSCFG_FASTMODEPLUS_PB6);

  /* EXTI interrupt init*/
  HAL_NVIC_SetPriority(EXTI3_IRQn, 0, 0);
  HAL_NVIC_EnableIRQ(EXTI3_IRQn);

  HAL_NVIC_SetPriority(EXTI4_IRQn, 0, 0);
  HAL_NVIC_EnableIRQ(EXTI4_IRQn);

}

void Error_Handler(void)
{
  __disable_irq();
  while (1)
  {
  }
}
